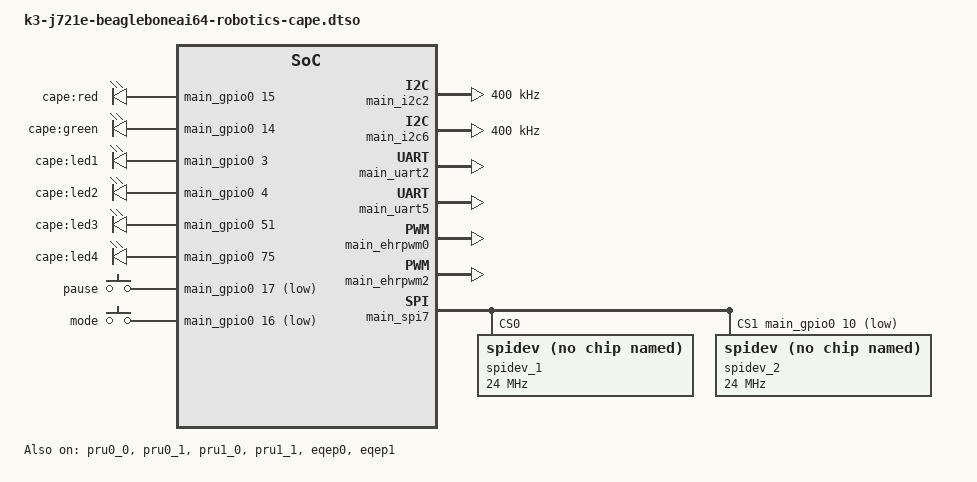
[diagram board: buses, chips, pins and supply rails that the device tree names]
// SPDX-License-Identifier: GPL-2.0
/*
 * k3-j721e-beagleboneai64-robotics-cape.dtso
 *
 * Robotics Cape base pinmux and device configuration for BeagleBone AI-64.
 * Supports both original (MPU9250/BMP280) and updated (ICM20948/BMP390) capes.
 *
 * Changes from the original design:
 * 	- Encoder 3, UART2 (GPS) and UART4 (DSM2) are handled via PRU due to no physical connection with dedicated hardware in J721e SoC.
 * 	- SPI1.2 CS pin is handled via GPIO (Soft CS) due to no physical connection with dedicated hardware in J721e SoC.
 * 	- UART1 connector lines are connected to UART2 pins in J721e SoC.
 * 	- SPI1 connector lines are connected to SPI7 pins in J721e SoC.
 * 	- I2C connector, originally connected to I2C1 line, is connected to I2C6 line pins of the J721e SoC because it is the line connected to the pinmux of those pins.
 *
 */

/dts-v1/;
/plugin/;

#include "ti/k3-pinctrl.h"
#include <dt-bindings/gpio/gpio.h>
#include <dt-bindings/input/input.h>
#include <dt-bindings/soc/ti,sci_pm_domain.h>
#include <dt-bindings/interrupt-controller/arm-gic.h>
#include <dt-bindings/interrupt-controller/irq.h>

&{/chosen} {
	overlays {
		k3-j721e-beagleboneai64-robotics-cape.kernel = __TIMESTAMP__;
	};
};

/* ==================== PINMUX CONFIGURATION ==================== */

&main_pmx0 {
	/* PRU: Software Encoders (PRG0_PRU0) */
	icssg0_encoders_pins_default: icssg0-encoders-pins-default {
		pinctrl-single,pins = <
			J721E_IOPAD(0x0f0, PIN_INPUT, 1) /* P8_12: QEP_2A */
			J721E_IOPAD(0x0f4, PIN_INPUT, 1) /* P8_11: QEP_2B */
			J721E_IOPAD(0x0f8, PIN_INPUT, 1) /* P8_15: QEP_4B */
			J721E_IOPAD(0x0fc, PIN_INPUT, 1) /* P8_16: QEP_4A */
		>;
	};

	/* PRU: Servos (PRG0_PRU1) */
	icssg0_servos_pins_default: icssg0-servos-pins-default {
		pinctrl-single,pins = <
			J721E_IOPAD(0x120, PIN_OUTPUT, 0) /* P8_27: SVO1 */
			J721E_IOPAD(0x124, PIN_OUTPUT, 0) /* P8_28: SVO2 */
			J721E_IOPAD(0x128, PIN_OUTPUT, 0) /* P8_29: SVO3 */
			J721E_IOPAD(0x12c, PIN_OUTPUT, 0) /* P8_30: SVO4 */
			J721E_IOPAD(0x118, PIN_OUTPUT, 0) /* P8_39: SVO5 */
			J721E_IOPAD(0x11c, PIN_OUTPUT, 0) /* P8_40: SVO6 */
			J721E_IOPAD(0x110, PIN_OUTPUT, 0) /* P8_41: SVO7 */
			J721E_IOPAD(0x114, PIN_OUTPUT, 0) /* P8_42: SVO8 */
		>;
	};

	/* PRU: DSM Receiver (PRG1_PRU0) */
	icssg1_dsm_pins_default: icssg1-dsm-pins-default {
		pinctrl-single,pins = <
			J721E_IOPAD(0x004, PIN_INPUT, 1) /* P9_11: UART4_RX / DSM */
		>;
	};

	/* PRU: GPS UART (PRG1_PRU1) */
	icssg1_gps_pins_default: icssg1-gps-pins-default {
		pinctrl-single,pins = <
			J721E_IOPAD(0x0a0, PIN_OUTPUT, 0) /* P9_21: UART2_TX / GPS_TX */
			J721E_IOPAD(0x09c, PIN_INPUT, 1)  /* P9_22: UART2_RX / GPS_RX */
		>;
	};

	/* Hardware Encoders (eQEP) */
	eqep0_pins_default: eqep0-pins-default {
		pinctrl-single,pins = <
			J721E_IOPAD(0x1f0, PIN_INPUT, 5) /* P9_42: QEP_0A */
			J721E_IOPAD(0x1f4, PIN_INPUT, 5) /* P9_27: QEP_0B */
		>;
	};

	eqep1_pins_default: eqep1-pins-default {
		pinctrl-single,pins = <
			J721E_IOPAD(0x064, PIN_INPUT, 9) /* P8_35: QEP_1A */
			J721E_IOPAD(0x068, PIN_INPUT, 9) /* P8_33: QEP_1B */
		>;
	};

	/* I2C Buses */
	i2c2_pins_default: i2c2-pins-default { /* IMU/Barometer */
		pinctrl-single,pins = <
			J721E_IOPAD(0x208, PIN_INPUT_PULLUP, 4) /* P9_19: I2C2_SCL */
			J721E_IOPAD(0x20c, PIN_INPUT_PULLUP, 4) /* P9_20: I2C2_SDA */
		>;
	};

	i2c6_pins_default: i2c6-pins-default { /* Expansion */
		pinctrl-single,pins = <
			J721E_IOPAD(0x1d0, PIN_INPUT_PULLUP, 2) /* P9_17: I2C6_SCL */
			J721E_IOPAD(0x1e4, PIN_INPUT_PULLUP, 2) /* P9_18: I2C6_SDA */
		>;
	};

	/* SPI7 Bus */
	spi7_pins_default: spi7-pins-default {
		pinctrl-single,pins = <
			J721E_IOPAD(0x230, PIN_OUTPUT, 6)  /* P9_28: SPI7_CS0 */
			J721E_IOPAD(0x0b0, PIN_DISABLE, 7)
			J721E_IOPAD(0x23c, PIN_INPUT, 6)   /* P9_29: SPI7_D1 (MISO) */
			J721E_IOPAD(0x0d8, PIN_DISABLE, 7)
			J721E_IOPAD(0x238, PIN_OUTPUT, 6)  /* P9_30: SPI7_D0 (MOSI) */
			J721E_IOPAD(0x0b4, PIN_DISABLE, 7)
			J721E_IOPAD(0x234, PIN_OUTPUT, 6)  /* P9_31: SPI7_CLK */
			J721E_IOPAD(0x0d4, PIN_DISABLE, 7)
		>;
	};

	/* Motor PWMs */
	ehrpwm0_pins_default: ehrpwm0-pins-default {
		pinctrl-single,pins = <
			J721E_IOPAD(0x164, PIN_OUTPUT, 6) /* P8_19: PWM_2A */
			J721E_IOPAD(0x168, PIN_OUTPUT, 6) /* P8_13: PWM_2B */
		>;
	};

	ehrpwm2_pins_default: ehrpwm2-pins-default {
		pinctrl-single,pins = <
			J721E_IOPAD(0x178, PIN_OUTPUT, 6) /* P9_14: PWM_1A */
			J721E_IOPAD(0x17c, PIN_OUTPUT, 6) /* P9_16: PWM_1B */
		>;
	};

	/* Expansion UARTs */
	uart5_pins_default: uart5-pins-default {
		pinctrl-single,pins = <
			J721E_IOPAD(0x1ac, PIN_OUTPUT, 3) /* P8_37: UART5_TX */
			J721E_IOPAD(0x1a8, PIN_INPUT, 3)  /* P8_38: UART5_RX */
		>;
	};

	uart2_pins_default: uart2-pins-default {
		pinctrl-single,pins = <
			J721E_IOPAD(0x1e0, PIN_OUTPUT, 3) /* P9_24: UART2_TXD */
			J721E_IOPAD(0x1dc, PIN_INPUT, 3)  /* P9_26: UART2_RXD */
		>;
	};

	/* LEDs & Buttons */
	leds_pins_default: leds-pins-default {
		pinctrl-single,pins = <
			J721E_IOPAD(0x03c, PIN_OUTPUT, 7) /* P8_7:  LED_RED */
			J721E_IOPAD(0x038, PIN_OUTPUT, 7) /* P8_8:  LED_GRN */
			J721E_IOPAD(0x00c, PIN_OUTPUT, 7) /* P8_17: LED_1   */
			J721E_IOPAD(0x010, PIN_OUTPUT, 7) /* P8_18: LED_2   */
			J721E_IOPAD(0x0d0, PIN_OUTPUT, 7) /* P8_26: LED_3   */
			J721E_IOPAD(0x130, PIN_OUTPUT, 7) /* P8_14: LED_4   */
		>;
	};

	buttons_pins_default: buttons-pins-default {
		pinctrl-single,pins = <
			J721E_IOPAD(0x044, PIN_INPUT_PULLUP, 7) /* P8_9:  PAUSE_BTN */
			J721E_IOPAD(0x040, PIN_INPUT_PULLUP, 7) /* P8_10: MODE_BTN  */
		>;
	};

	/* Motor Direction */
	motor_direction_pins_default: motor-direction-pins-default {
		pinctrl-single,pins = <
			J721E_IOPAD(0x0b8, PIN_OUTPUT, 7) /* P9_12: MDIR_1A */
			J721E_IOPAD(0x008, PIN_OUTPUT, 7) /* P9_13: MDIR_1B */
			J721E_IOPAD(0x0c0, PIN_OUTPUT, 7) /* P9_15: MDIR_2A */
			J721E_IOPAD(0x01c, PIN_OUTPUT, 7) /* P8_34: MDIR_2B */
			J721E_IOPAD(0x108, PIN_OUTPUT, 7) /* P8_43: MDIR_3B */
			J721E_IOPAD(0x10c, PIN_OUTPUT, 7) /* P8_44: MDIR_3A */
			J721E_IOPAD(0x140, PIN_OUTPUT, 7) /* P8_45: MDIR_4A */
			J721E_IOPAD(0x144, PIN_OUTPUT, 7) /* P8_46: MDIR_4B */
		>;
	};

	/* Misc GPIOs */
	misc_gpio_pins_default: misc-gpio-pins-default {
		pinctrl-single,pins = <
			J721E_IOPAD(0x020, PIN_OUTPUT, 7) /* P8_36: SERVO_EN */
			J721E_IOPAD(0x200, PIN_INPUT,  7) /* P9_25: IMU_INT  */
			J721E_IOPAD(0x204, PIN_OUTPUT, 7) /* P9_41: MOT_STBY */
			J721E_IOPAD(0x028, PIN_OUTPUT, 7) /* P9_23: SPI7_CS1 (Soft CS) */
		>;
	};
};

&wkup_pmx0 {
	/* ADC Inputs */
	mcu_adc0_pins_default: mcu-adc0-pins-default {
		pinctrl-single,pins = <
			J721E_WKUP_IOPAD(0x130, PIN_INPUT, 0) /* P9_39: AIN0 */
			J721E_WKUP_IOPAD(0x134, PIN_INPUT, 0) /* P9_40: AIN1 */
			J721E_WKUP_IOPAD(0x138, PIN_INPUT, 0) /* P9_37: AIN2 */
			J721E_WKUP_IOPAD(0x13c, PIN_INPUT, 0) /* P9_38: AIN3 */
			J721E_WKUP_IOPAD(0x144, PIN_INPUT, 0) /* P9_36: V_DIV_DC  */
			J721E_WKUP_IOPAD(0x148, PIN_INPUT, 0) /* P9_35: V_DIV_BAT */
		>;
	};
};

/* ==================== VIRTUAL DEVICES ==================== */

&{/} {
	robotics_cape_leds: robotics-cape-leds {
		compatible = "gpio-leds";
		pinctrl-names = "default";
		pinctrl-0 = <&leds_pins_default>;

		led-red {
			gpios = <&main_gpio0 15 GPIO_ACTIVE_HIGH>;
			label = "cape:red";
		};
		led-green {
			gpios = <&main_gpio0 14 GPIO_ACTIVE_HIGH>;
			label = "cape:green";
		};
		led-1 {
			gpios = <&main_gpio0 3 GPIO_ACTIVE_HIGH>;
			label = "cape:led1";
		};
		led-2 {
			gpios = <&main_gpio0 4 GPIO_ACTIVE_HIGH>;
			label = "cape:led2";
		};
		led-3 {
			gpios = <&main_gpio0 51 GPIO_ACTIVE_HIGH>;
			label = "cape:led3";
		};
		led-4 {
			gpios = <&main_gpio0 75 GPIO_ACTIVE_HIGH>;
			label = "cape:led4";
		};
	};

	robotics_cape_keys: robotics-cape-keys {
		compatible = "gpio-keys";
		pinctrl-names = "default";
		pinctrl-0 = <&buttons_pins_default>;

		pause-btn {
			gpios = <&main_gpio0 17 GPIO_ACTIVE_LOW>;
			label = "pause";
			linux,code = <KEY_PAUSE>;
		};
		mode-btn {
			gpios = <&main_gpio0 16 GPIO_ACTIVE_LOW>;
			label = "mode";
			linux,code = <KEY_MODE>;
		};
	};
};

/* ==================== HARDWARE CONTROLLERS ==================== */

&main_i2c2 {
	status = "okay";
	pinctrl-names = "default";
	pinctrl-0 = <&i2c2_pins_default>;
	clock-frequency = <400000>;
	#address-cells = <1>;
	#size-cells = <0>;
};

&main_i2c6 {
	status = "okay";
	pinctrl-names = "default";
	pinctrl-0 = <&i2c6_pins_default>;
	clock-frequency = <400000>;
	#address-cells = <1>;
	#size-cells = <0>;
};

&main_uart2 {
	status = "okay";
	pinctrl-names = "default";
	pinctrl-0 = <&uart2_pins_default>;
};

&main_uart5 {
	status = "okay";
	pinctrl-names = "default";
	pinctrl-0 = <&uart5_pins_default>;
};

&main_ehrpwm0 {
	status = "okay";
	pinctrl-names = "default";
	pinctrl-0 = <&ehrpwm0_pins_default>;
};

&main_ehrpwm2 {
	status = "okay";
	pinctrl-names = "default";
	pinctrl-0 = <&ehrpwm2_pins_default>;
};

/* ==================== ICSSG / PRU ==================== */

&pru0_0 {
	status = "okay";
	firmware-name = "robotics-cape-encoders.fw";
	pinctrl-names = "default";
	pinctrl-0 = <&icssg0_encoders_pins_default>;
};

&pru0_1 {
	status = "okay";
	firmware-name = "robotics-cape-servos.fw";
	pinctrl-names = "default";
	pinctrl-0 = <&icssg0_servos_pins_default>;
};

&pru1_0 {
	status = "okay";
	firmware-name = "robotics-cape-dsm.fw";
	pinctrl-names = "default";
	pinctrl-0 = <&icssg1_dsm_pins_default>;
};

&pru1_1 {
	status = "okay";
	firmware-name = "robotics-cape-gps.fw";
	pinctrl-names = "default";
	pinctrl-0 = <&icssg1_gps_pins_default>;
};

/* ==================== eQEP ==================== */

&cbass_main {
	#address-cells = <2>;
	#size-cells = <2>;

	eqep0: counter@3200000 {
		compatible = "ti,am3352-eqep";
		reg = <0x00 0x03200000 0x00 0x100>;
		interrupt-parent = <&gic500>;
		interrupts = <GIC_SPI 322 IRQ_TYPE_EDGE_RISING>;
		interrupt-names = "eqep0";
		power-domains = <&k3_pds 94 TI_SCI_PD_EXCLUSIVE>;
		clocks = <&k3_clks 94 0>;
		clock-names = "eqep0-ficlk";
		pinctrl-names = "default";
		pinctrl-0 = <&eqep0_pins_default>;
		status = "okay";
		label = "encoder0";
		
		count_mode = <0>;
		swap_input = <0>;
		invert_qa = <0>;
		invert_qb = <0>;
	};

	eqep1: counter@3210000 {
		compatible = "ti,am3352-eqep";
		reg = <0x00 0x03210000 0x00 0x100>;
		interrupt-parent = <&gic500>;
		interrupts = <GIC_SPI 323 IRQ_TYPE_EDGE_RISING>;
		interrupt-names = "eqep1";
		power-domains = <&k3_pds 95 TI_SCI_PD_EXCLUSIVE>;
		clocks = <&k3_clks 95 0>;
		clock-names = "eqep1-ficlk";
		pinctrl-names = "default";
		pinctrl-0 = <&eqep1_pins_default>;
		status = "okay";
		label = "encoder1";

		count_mode = <0>;
		swap_input = <0>;
		invert_qa = <0>;
		invert_qb = <0>;
	};
};

/* ==================== SPI ==================== */

&main_spi7 {
	status = "okay";
	pinctrl-names = "default";
	pinctrl-0 = <&spi7_pins_default &misc_gpio_pins_default>;
	ti,spi-num-cs = <2>;
	ti,pindir-d0-out-d1-in;
	cs-gpios = <0>, <&main_gpio0 10 GPIO_ACTIVE_LOW>;
	#address-cells = <1>;
	#size-cells = <0>;

	spidev_1: spidev@0 {
		compatible = "rohm,dh2228fv"; 
		spi-max-frequency = <24000000>;
		reg = <0>;
	};
	
	spidev_2: spidev@1 {
		compatible = "rohm,dh2228fv";
		spi-max-frequency = <24000000>;
		reg = <1>;
	};
};
